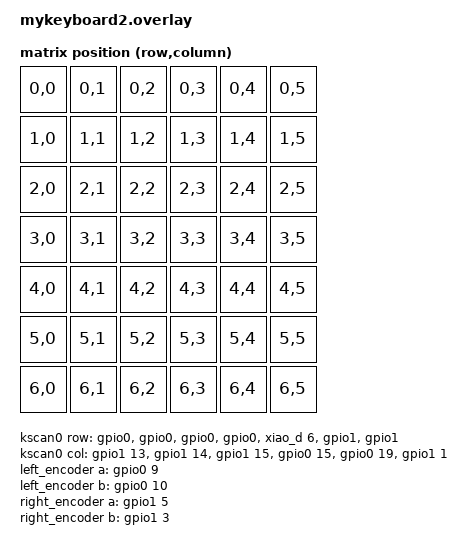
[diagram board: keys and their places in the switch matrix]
#include <dt-bindings/zmk/matrix_transform.h>
#include <physical_layouts.dtsi>

/ {
    nfc_pins_as_gpio: nfc-pins-as-gpio {
        compatible = "nordic,nrf-nfct-pins-as-gpios";
    };
};

&uicr {
        nfct-pins-as-gpios;
};

/ {
    chosen {
        zmk,kscan = &kscan0;
        zmk,matrix_transform = &default_transform;
    };

    default_transform: keymap_transform_0 {
        compatible = "zmk,matrix-transform";
        columns = <6>;
        rows = <7>;
        map = <
            RC(0,0) RC(0,1) RC(0,2) RC(0,3) RC(0,4) RC(0,5)
            RC(1,0) RC(1,1) RC(1,2) RC(1,3) RC(1,4) RC(1,5) 
            RC(2,0) RC(2,1) RC(2,2) RC(2,3) RC(2,4) RC(2,5)
            RC(3,0) RC(3,1) RC(3,2) RC(3,3) RC(3,4) RC(3,5)
            RC(4,0) RC(4,1) RC(4,2) RC(4,3) RC(4,4) RC(4,5)
            RC(5,0) RC(5,1) RC(5,2) RC(5,3) RC(5,4) RC(5,5)
            RC(6,0) RC(6,1) RC(6,2) RC(6,3) RC(6,4) RC(6,5)
        >;
    };


    kscan0: kscan {
        compatible = "zmk,kscan-gpio-matrix";
        label = "KSCAN";
        diode-direction = "col2row";
        row-gpios
            = <&gpio0 2(GPIO_ACTIVE_HIGH | GPIO_PULL_DOWN)>
            , <&gpio0 3(GPIO_ACTIVE_HIGH | GPIO_PULL_DOWN)>
            , <&gpio0 28(GPIO_ACTIVE_HIGH | GPIO_PULL_DOWN)>
            , <&gpio0 29(GPIO_ACTIVE_HIGH | GPIO_PULL_DOWN)>
            , <&xiao_d 6 GPIO_ACTIVE_LOW>
            , <&gpio1 12(GPIO_ACTIVE_HIGH | GPIO_PULL_DOWN)>
            , <&gpio1 7(GPIO_ACTIVE_HIGH | GPIO_PULL_DOWN)>
            ;
        col-gpios
            = <&gpio1 13 GPIO_ACTIVE_HIGH>
            , <&gpio1 14 GPIO_ACTIVE_HIGH>
            , <&gpio1 15 GPIO_ACTIVE_HIGH>
            , <&gpio0 15 GPIO_ACTIVE_HIGH>
            , <&gpio0 19 GPIO_ACTIVE_HIGH>
            , <&gpio1 1 GPIO_ACTIVE_HIGH>
            ;
    };

    left_encoder: encoder_left {
        compatible = "alps,ec11";
        a-gpios = <&gpio0  9 (GPIO_ACTIVE_HIGH | GPIO_PULL_UP)>;
        b-gpios = <&gpio0 10 (GPIO_ACTIVE_HIGH | GPIO_PULL_UP)>;
        steps = <24>;
        status = "okay";
    };

    right_encoder: encoder_right {
        compatible = "alps,ec11";
        a-gpios = <&gpio1  5 (GPIO_ACTIVE_HIGH | GPIO_PULL_UP)>;
        b-gpios = <&gpio1  3 (GPIO_ACTIVE_HIGH | GPIO_PULL_UP)>;
        steps = <24>;
        status = "okay";
    };

    sensors: sensors {
        compatible = "zmk,keymap-sensors";
        sensors = <&left_encoder &right_encoder>;
        triggers-per-rotation = <8>;
    };

};

// Xiao LED 2(GPIO_ACTIVE_HIGH | GPIO_PULL_DOWN)>
/ {
    leds {
        compatible = "gpio-leds";

        led_red: led_red {
            gpios = <&gpio0 26 GPIO_ACTIVE_LOW>;
            label = "LED RED";
        };
        led_green: led_green {
            gpios = <&gpio0 30 GPIO_ACTIVE_LOW>;
            label = "LED GREEN";
        };
        led_blue: led_blue {
            gpios = <&gpio0 6 GPIO_ACTIVE_LOW>;
            label = "LED BLUE";
        };
    };

    aliases {
        led-red = &led_red;
        led-green = &led_green;
        led-blue = &led_blue;
    };
};
